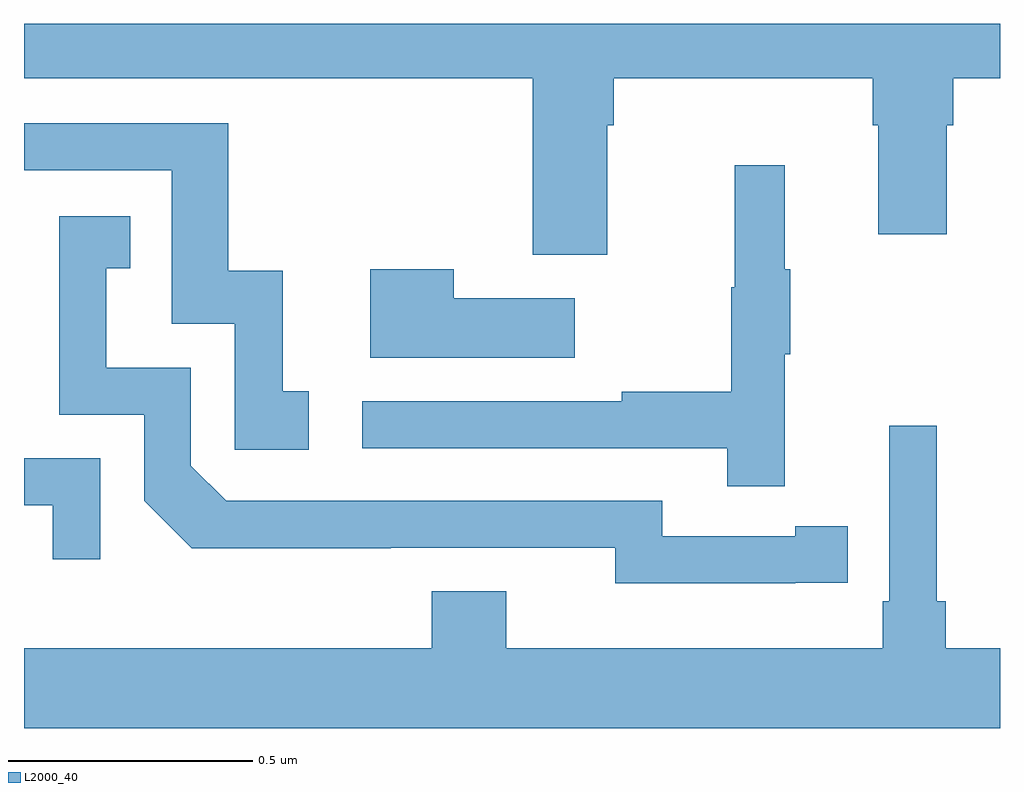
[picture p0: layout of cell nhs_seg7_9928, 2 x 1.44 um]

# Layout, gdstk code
import gdstk
lib = gdstk.Library(unit=1e-6, precision=1e-09)
def P(c, l, *ps):  # polygons
    for p in ps: c.add(gdstk.Polygon(p, *l))
L2000_40 = (2000, 40)

nhs_seg7_9928 = lib.new_cell('nhs_seg7_9928')
P(nhs_seg7_9928, L2000_40, [(244.195,1061.792),(244.208,1061.792),(244.208,1061.888),(244.739,1061.888),(244.739,1061.792),(244.751,1061.792),(244.751,1061.568),(244.891,1061.568),(244.891,1061.792),(244.904,1061.792),(244.904,1061.888),(245,1061.888),(245,1062),(243,1062),(243,1061.888),(244.043,1061.888),(244.043,1061.526),(244.195,1061.526)],
  [(243.583,1061.247),(243.53,1061.247),(243.53,1061.494),(243.419,1061.494),(243.419,1061.796),(243,1061.796),(243,1061.7),(243.303,1061.7),(243.303,1061.385),(243.432,1061.385),(243.432,1061.127),(243.583,1061.127)],
  [(244.559,1061.323),(244.57,1061.323),(244.57,1061.497),(244.559,1061.497),(244.559,1061.71),(244.456,1061.71),(244.456,1061.46),(244.449,1061.46),(244.449,1061.246),(244.225,1061.246),(244.225,1061.226),(243.693,1061.226),(243.693,1061.13),(244.441,1061.13),(244.441,1061.052),(244.559,1061.052)],
  [(244.58,1060.854),(244.688,1060.854),(244.688,1060.97),(244.58,1060.97),(244.58,1060.95),(244.308,1060.95),(244.308,1061.022),(243.414,1061.022),(243.342,1061.094),(243.342,1061.295),(243.169,1061.295),(243.169,1061.499),(243.218,1061.499),(243.218,1061.605),(243.072,1061.605),(243.072,1061.199),(243.246,1061.199),(243.246,1061.022),(243.344,1060.925),(243.752,1060.925),(243.752,1060.926),(244.212,1060.926),(244.212,1060.853),(244.58,1060.853)],
  [(244.129,1061.437),(243.881,1061.437),(243.881,1061.497),(243.71,1061.497),(243.71,1061.315),(244.129,1061.315)],
  [(245,1060.72),(244.889,1060.72),(244.889,1060.816),(244.87,1060.816),(244.87,1061.176),(244.773,1061.176),(244.773,1060.816),(244.76,1060.816),(244.76,1060.72),(243.988,1060.72),(243.988,1060.837),(243.836,1060.837),(243.836,1060.72),(243,1060.72),(243,1060.556),(245,1060.556)],
  [(243.156,1061.109),(243,1061.109),(243,1061.013),(243.059,1061.013),(243.059,1060.902),(243.156,1060.902)])

lib.write_gds('nhs_seg7_9928.gds')
